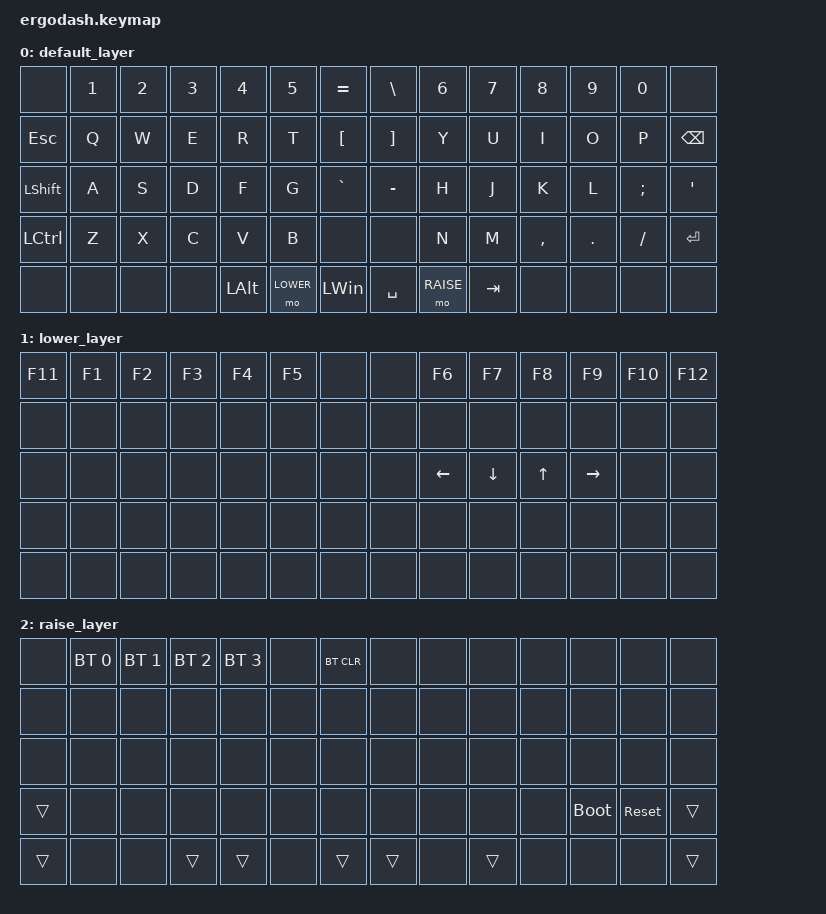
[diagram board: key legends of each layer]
/*
 * Copyright (c) 2020 The ZMK Contributors
 *
 * SPDX-License-Identifier: MIT
 */

#include <behaviors.dtsi>
#include <dt-bindings/zmk/keys.h>
#include <dt-bindings/zmk/bt.h>

#define DEFAULT 0
#define LOWER   1
#define RAISE   2


/ {
        keymap {
                compatible = "zmk,keymap";

                default_layer {
/* QWERTY
 * .----------------------------------------------------------------------------------------------------------------------.
 * |  `   |   1  |   2  |   3  |   4  |   5  |  [   |                    |  ]   |   6  |   7  |   8  |   9  |   0  | PScr |
 * |------+------+------+------+------+------+------+--------------------+------+------+------+------+------+------+------|
 * | ESC  |   Q  |   W  |   E  |   R  |   T  |  -   |                    |  =   |   Y  |   U  |   I  |   O  |   P  |  \   |
 * |------+------+------+------+------+------+------+--------------------+------+------+------+------+------+------+------|
 * | Tab  |   A  |   S  |   D  |   F  |   G  | Del  |                    | Bksp |   H  |   J  |   K  |   L  |   ;  |  '   |
 * |------+------+------+------+------+------+---------------------------+------+------+------+------+------+------+------|
 * | Shift|   Z  |   X  |   C  |   V  |   B  | End  |                    | Home |   N  |   M  |   ,  |   .  |   /  | Shift|
 * |-------------+------+------+------+------+------+------+------+------+------+------+------+------+------+-------------|
 * | Ctrl |      | PGDN | Win  |||||||| Alt  | Space| Lower|||||||| Raise| Enter| RAlt ||||||||      | PGUP | Ins  | RCtrl|
 * .----------------------------------------------------------------------------------------------------------------------.
 */


                        bindings = <
&none         &kp  N1       &kp  N2       &kp  N3       &kp  N4       &kp  N5       &kp  EQUAL             &kp  BSLH     &kp  N6       &kp  N7       &kp  N8       &kp  N9       &kp  N0       &none
&kp  ESC      &kp  Q        &kp  W        &kp  E        &kp  R        &kp  T        &kp  LBKT              &kp  RBKT     &kp  Y        &kp  U        &kp  I        &kp  O        &kp  P        &kp  BSPC
&kp  LSHFT    &kp  A        &kp  S        &kp  D        &kp  F        &kp  G        &kp  GRAVE             &kp  MINUS    &kp  H        &kp  J        &kp  K        &kp  L        &kp  SEMI     &kp  SQT
&kp  LCTRL    &kp  Z        &kp  X        &kp  C        &kp  V        &kp  B        &none                  &none         &kp  N        &kp  M        &kp  COMMA    &kp  DOT      &kp  SLASH    &kp  ENTER
&none         &none         &none         &none         &kp  LALT     &mo  LOWER    &kp  LWIN              &kp  SPACE    &mo  RAISE    &kp  TAB      &none         &none         &none         &none
                        >;
                };
                lower_layer {
/* .----------------------------------------------------------------------------------------------------------------------.
 * |  F11 |  F1  |  F2  |  F3  |  F4  |  F5  |      |                    |      |  F6  |  F7  |  F8  |  F9  |  F10 |  F12 |
 * |------+------+------+------+------+------+------+--------------------+------+------+------+------+------+------+------|
 * |      |      |      |      |      |      |      |                    |      |      |      |      |      |      |      |
 * |------+------+------+------+------+------+------+--------------------+------+------+------+------+------+------+------|
 * |      |      |      |      |      |      |      |                    |      |      |      |      |      |      |      |
 * |------+------+------+------+------+------+---------------------------+------+------+------+------+------+------+------|
 * | Shift| Boot | Reset|      |      |      |      |                    |      |      |      |      |      |      | Shift|
 * |-------------+------+------+------+------+------+------+------+------+------+------+------+------+------+-------------|
 * | Ctlr |      |      |  Win |||||||| Alt  |      | Lower|||||||| Raise|      | RAlt ||||||||      |      |      | RCtrl|
 * .----------------------------------------------------------------------------------------------------------------------.
 */ /* FIXME boot and reset are not yet locale aware */
                        bindings = <
&kp  F11      &kp  F1       &kp  F2       &kp  F3       &kp  F4       &kp  F5       &none                  &none         &kp  F6       &kp  F7       &kp  F8       &kp  F9       &kp  F10      &kp  F12
&none         &none         &none         &none         &none         &none         &none                  &none         &none         &none         &none         &none         &none         &none
&none         &none         &none         &none         &none         &none         &none                  &none         &kp LEFT      &kp DOWN      &kp UP        &kp RIGHT     &none         &none
&none         &none         &none         &none         &none         &none         &none                  &none         &none         &none         &none         &none         &none         &none
&none         &none         &none         &none         &none         &none         &none                  &none         &none         &none         &none         &none         &none         &none
                        >;
                };
                raise_layer {
/* .----------------------------------------------------------------------------------------------------------------------.
 * |      | BT 0 | BT 1 | BT 2 | BT 3 |      | BTCL |                    |      |      |      |      |      |      |      |
 * |------+------+------+------+------+------+------+--------------------+------+------+------+------+------+------+------|
 * |      |      |      |      |      |      |      |                    |      |      |      |      |      |      |      |
 * |------+------+------+------+------+------+------+--------------------+------+------+------+------+------+------+------|
 * |      |      |      |      |      |      |      |                    |      |      |      |      |      |      |      |
 * |------+------+------+------+------+------+---------------------------+------+------+------+------+------+------+------|
 * | Shift|      |      |      |      |      |      |                    |      |      |      |      | Boot | Reset| Shift|
 * |-------------+------+------+------+------+------+------+------+------+------+------+------+------+------+-------------|
 * | Ctlr |      |      |  Win |||||||| Alt  |      | Lower|||||||| Raise|      | RAlt ||||||||      |      |      | RCtrl|
 * .----------------------------------------------------------------------------------------------------------------------.
 */ /* FIXME boot and reset are not yet locale aware */
                        bindings = <
&none         &bt BT_SEL 0  &bt BT_SEL 1  &bt BT_SEL 2  &bt BT_SEL 3  &none         &bt BT_CLR             &none         &none         &none         &none         &none         &none         &none
&none         &none         &none         &none         &none         &none         &none                  &none         &none         &none         &none         &none         &none         &none
&none         &none         &none         &none         &none         &none         &none                  &none         &none         &none         &none         &none         &none         &none
&trans        &none         &none         &none         &none         &none         &none                  &none         &none         &none         &none         &bootloader   &sys_reset        &trans
&trans        &none         &none         &trans        &trans        &none         &trans                 &trans        &none         &trans        &none         &none         &none         &trans
                        >;
                };
        };
};

